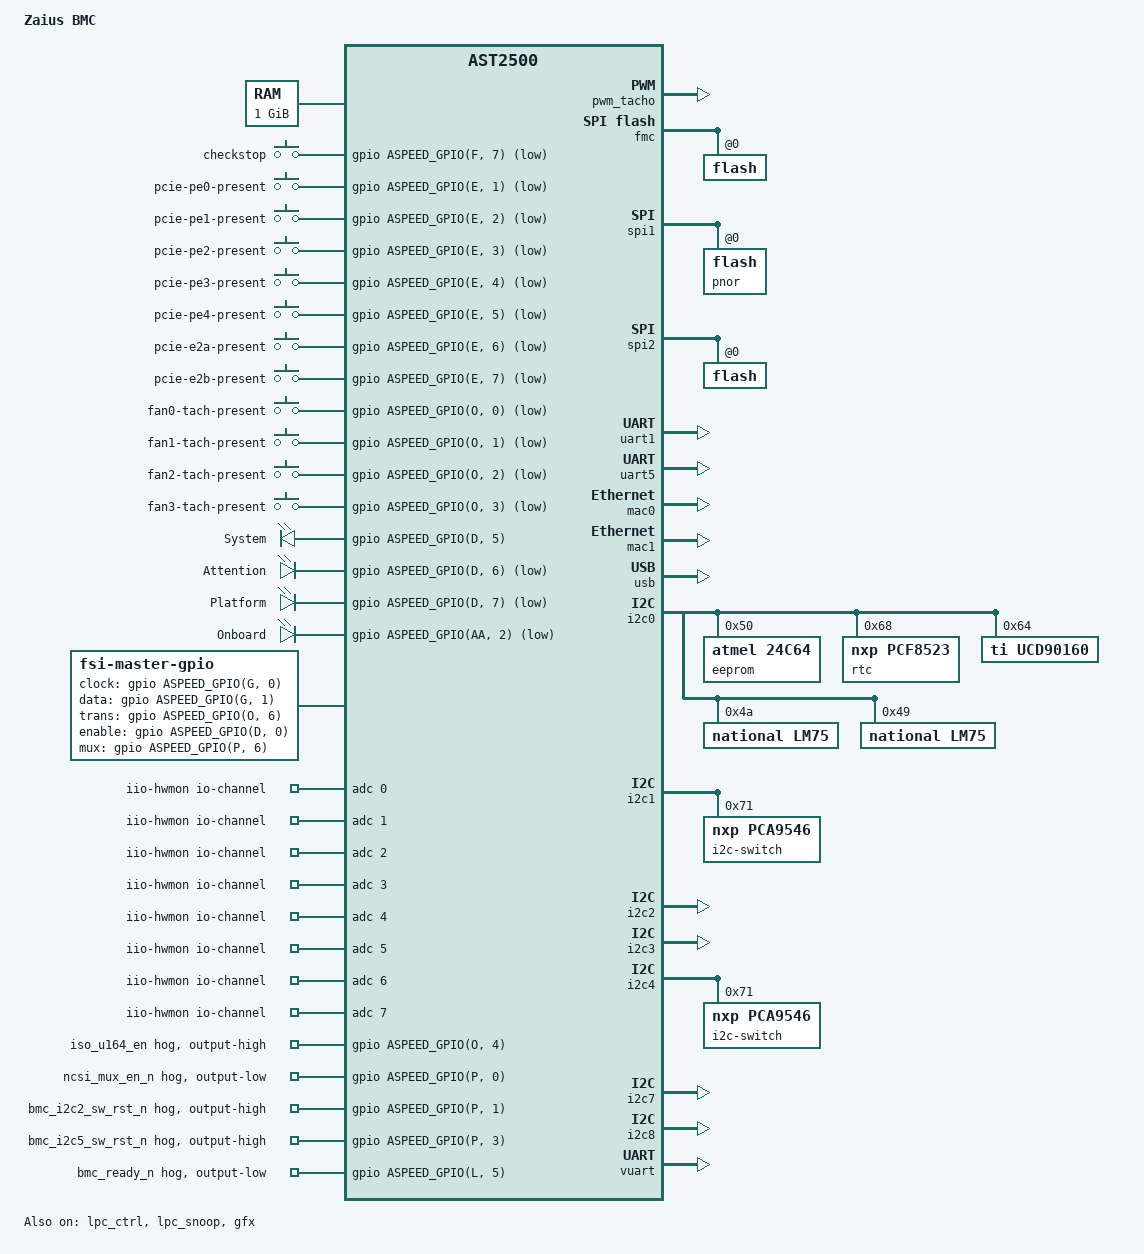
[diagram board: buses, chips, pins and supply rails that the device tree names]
/dts-v1/;

#include "aspeed-g5.dtsi"
#include <dt-bindings/gpio/aspeed-gpio.h>

/ {
	model = "Zaius BMC";
	compatible = "ingrasys,zaius-bmc", "aspeed,ast2500";

	chosen {
		stdout-path = &uart5;
		bootargs = "console=ttyS4,115200 earlyprintk";
	};

	memory {
		reg = <0x80000000 0x40000000>;
	};

	reserved-memory {
		#address-cells = <1>;
		#size-cells = <1>;
		ranges;

		flash_memory: region@98000000 {
			no-map;
			reg = <0x98000000 0x04000000>; /* 64M */
		};
	};

	gpio-keys {
		compatible = "gpio-keys";

		checkstop {
			label = "checkstop";
			gpios = <&gpio ASPEED_GPIO(F, 7) GPIO_ACTIVE_LOW>;
			linux,code = <ASPEED_GPIO(F, 7)>;
		};

		pcie-pe0-present{
                        label = "pcie-pe0-present";
                        gpios = <&gpio ASPEED_GPIO(E, 1) GPIO_ACTIVE_LOW>;
                        linux,code = <ASPEED_GPIO(E, 1)>;
                };
		pcie-pe1-present{
                        label = "pcie-pe1-present";
                        gpios = <&gpio ASPEED_GPIO(E, 2) GPIO_ACTIVE_LOW>;
                        linux,code = <ASPEED_GPIO(E, 2)>;
                };

		pcie-pe2-present{
                        label = "pcie-pe2-present";
                        gpios = <&gpio ASPEED_GPIO(E, 3) GPIO_ACTIVE_LOW>;
                        linux,code = <ASPEED_GPIO(E, 3)>;
                };

		pcie-pe3-present{
                        label = "pcie-pe3-present";
                        gpios = <&gpio ASPEED_GPIO(E, 4) GPIO_ACTIVE_LOW>;
                        linux,code = <ASPEED_GPIO(E, 4)>;
                };

		pcie-pe4-present{
                        label = "pcie-pe4-present";
                        gpios = <&gpio ASPEED_GPIO(E, 5) GPIO_ACTIVE_LOW>;
                        linux,code = <ASPEED_GPIO(E, 5)>;
                };
		
		pcie-e2a-present{
                        label = "pcie-e2a-present";
                        gpios = <&gpio ASPEED_GPIO(E, 6) GPIO_ACTIVE_LOW>;
                        linux,code = <ASPEED_GPIO(E, 6)>;
                };

		pcie-e2b-present{
                        label = "pcie-e2b-present";
                        gpios = <&gpio ASPEED_GPIO(E, 7) GPIO_ACTIVE_LOW>;
                        linux,code = <ASPEED_GPIO(E, 7)>;
                };

		fan0-tach-present{
                        label = "fan0-tach-present";
                        gpios = <&gpio ASPEED_GPIO(O, 0) GPIO_ACTIVE_LOW>;
                        linux,code = <ASPEED_GPIO(O, 0)>;
                };

		fan1-tach-present{
                        label = "fan1-tach-present";
                        gpios = <&gpio ASPEED_GPIO(O, 1) GPIO_ACTIVE_LOW>;
                        linux,code = <ASPEED_GPIO(O, 1)>;
                };

		fan2-tach-present{
                        label = "fan2-tach-present";
                        gpios = <&gpio ASPEED_GPIO(O, 2) GPIO_ACTIVE_LOW>;
                        linux,code = <ASPEED_GPIO(O, 2)>;
                };

		fan3-tach-present{
                        label = "fan3-tach-present";
                        gpios = <&gpio ASPEED_GPIO(O, 3) GPIO_ACTIVE_LOW>;
                        linux,code = <ASPEED_GPIO(O, 3)>;
                };
	};

	leds {
		compatible = "gpio-leds";

		sys_boot_status {
			label = "System";
			gpios = <&gpio ASPEED_GPIO(D, 5) GPIO_ACTIVE_HIGH>;
		};

		attention {
			label = "Attention";
			gpios = <&gpio ASPEED_GPIO(D, 6) GPIO_ACTIVE_LOW>;
		};

		plt_fault {
			label = "Platform";
			gpios = <&gpio ASPEED_GPIO(D, 7) GPIO_ACTIVE_LOW>;
		};

		hdd_fault {
			label = "Onboard";
			gpios = <&gpio ASPEED_GPIO(AA, 2) GPIO_ACTIVE_LOW>;
		};
	};

	fsi: gpio-fsi {
		compatible = "fsi-master-gpio", "fsi-master";
		#address-cells = <2>;
		#size-cells = <0>;

		/*
		 * Close these 2 GPIOs are set per board revision in aspeed.c.
		 * Using these are the DVT and beyond values: 
		 */
		   clock-gpios = <&gpio ASPEED_GPIO(G, 0) GPIO_ACTIVE_HIGH>;
		   data-gpios = <&gpio ASPEED_GPIO(G, 1) GPIO_ACTIVE_HIGH>;
		 
		trans-gpios = <&gpio ASPEED_GPIO(O, 6) GPIO_ACTIVE_HIGH>;
		enable-gpios = <&gpio ASPEED_GPIO(D, 0) GPIO_ACTIVE_HIGH>;
		mux-gpios = <&gpio ASPEED_GPIO(P, 6) GPIO_ACTIVE_HIGH>;
	};

	iio-hwmon {
		compatible = "iio-hwmon";
		io-channels = <&adc 0>, <&adc 1>, <&adc 2>, <&adc 3>,
			<&adc 4>, <&adc 5>, <&adc 6>, <&adc 7>,
			<&adc 8>, <&adc 9>, <&adc 10>, <&adc 11>,
			<&adc 12>, <&adc 13>, <&adc 14>, <&adc 15>;
	};
};

#include "ibm-power9-cfam.dtsi"

&pwm_tacho {
	status = "okay";
	pinctrl-names = "default";
	pinctrl-0 = <&pinctrl_pwm0_default &pinctrl_pwm1_default
		&pinctrl_pwm2_default &pinctrl_pwm3_default>;

	fan@0 {
		reg = <0x00>;
                cooling-levels = /bits/ 8 <50>;
		aspeed,fan-tach-ch = /bits/ 8 <0x00>;
	};

	fan@1 {
		reg = <0x01>;
                cooling-levels = /bits/ 8 <50>;
		aspeed,fan-tach-ch = /bits/ 8 <0x01>;
	};

	fan@2 {
		reg = <0x02>;
                cooling-levels = /bits/ 8 <50>;
		aspeed,fan-tach-ch = /bits/ 8 <0x02>;
	};

	fan@3 {
		reg = <0x03>;
                cooling-levels = /bits/ 8 <50>;
		aspeed,fan-tach-ch = /bits/ 8 <0x03>;
	};
};

&fmc {
	status = "okay";
	flash@0 {
		status = "okay";
		m25p,fast-read;
#include "aspeed-bmc-opp-flash-layout.dtsi"
	};
};

&spi1 {
	status = "okay";
	pinctrl-names = "default";
	pinctrl-0 = <&pinctrl_spi1_default>;

	flash@0 {
		status = "okay";
		label = "pnor";
		m25p,fast-read;
	};
};

&spi2 {
	status = "okay";
	pinctrl-names = "default";
	pinctrl-0 = <&pinctrl_spi2ck_default
		     &pinctrl_spi2cs0_default
		     &pinctrl_spi2cs1_default
		     &pinctrl_spi2miso_default
		     &pinctrl_spi2mosi_default>;

	flash@0 {
		status = "okay";
	};
};

&uart1 {
	status = "okay";
	pinctrl-names = "default";
	pinctrl-0 = <&pinctrl_txd1_default
		     &pinctrl_rxd1_default>;
};

&lpc_ctrl {
	status = "okay";
	memory-region = <&flash_memory>;
	flash = <&spi1>;
};

&lpc_snoop {
	status = "okay";
	snoop-ports = <0x80>;
};

&mbox {
	status = "okay";
};

&uart5 {
	status = "okay";
};

&mac0 {
	status = "okay";

	pinctrl-names = "default";
	pinctrl-0 = <&pinctrl_rmii1_default>;
	use-ncsi;
};

&mac1 {
	status = "okay";

	pinctrl-names = "default";
	pinctrl-0 = <&pinctrl_rgmii2_default &pinctrl_mdio2_default>;
};

&usb   {
       status = "okay";
};


&i2c0 {
	status = "okay";

	eeprom@50 {
		compatible = "atmel,24c64";
		reg = <0x50>;
		pagesize = <32>;
	};

	rtc@68 {
		compatible = "nxp,pcf8523";
		reg = <0x68>;
	};

	ucd90160@64 {
		/* https://github.com/openbmc/openbmc/issues/832 */
		compatible = "ti,ucd90160";
		reg = <0x64>;
	};

	lm75@4a {
		compatible = "national,lm75";
		reg = <0x4a>;
	};

	lm75@49 {
                compatible = "national,lm75";
                reg = <0x49>;
        };

	/* Power sequencer UCD90160 PMBUS @64h
	 * FRU AT24C64D @50h
	 * RTC PCF8523 @68h
	 * Clock buffer 9DBL04 @6dh
	 * LM75 @4ah
	 * LM75 @49h
	 * Clock GEN SI5338C @70h
	 */
};

&i2c1 {
	status = "okay";

	i2c-switch@71 {
		compatible = "nxp,pca9546";
		reg = <0x71>;
		#address-cells = <1>;
		#size-cells = <0>;
	};

	/* MUX1 PCA9546A @71h
	 *   PCIe 0
	 *   PCIe 1
	 *   PCIe 2
	 *   TPM header
	 */
};

&i2c2 {
	status = "okay";

	/* OCP Mezz Connector A (OOB SMBUS) */
};

&i2c3 {
	status = "okay";

	/* OCP Mezz Connector A (PCIe slot SMBUS) */
};

&i2c4 {
	status = "okay";

	i2c-switch@71 {
		compatible = "nxp,pca9546";
		reg = <0x71>;
		#address-cells = <1>;
		#size-cells = <0>;
	};

	/* MUX1 PCA9546A @71h
	 *   PCIe 3
	 *   PCIe 4
	 */
};


&i2c5 {
	status = "disabled";

	/* I2C BUFFER PCA9617 DEPOP
	 * APSS TMS320F28033PNT @00h
	 */
};

&i2c6 {
	status = "disabled";

	/* I2C BUFFER PCA9617 DEPOP */
};

&i2c7 {
	status = "okay";

	/* CPU0 VR IR35221 0.7V, 0.96V PMBUS @32h
	 * CPU0 VR IR35221 1.2V PMBUS @34h
	 * CPU0 VR IR35221 0.8V PMBUS @30h
	 * CPU0 VR IR38064 1.0V PMBUS @09h
	 */
};

&i2c8 {
	status = "okay";

	/* CPU0 VR IR355221 0.7V, 0.96V PMBUS @38h */
	/* CPU1 VR IR355221 1.2V PMBUS @40h */
	/* CPU0 VR IR355221 0.8V PMBUS @36h */
	/* CPU0 VR IR38064 1.0V PMBUS @09h */
};


&i2c9 {
	status = "disabled";
};

&i2c10 {
	status = "disabled";
};

&i2c11 {
	status = "disabled";

	/* GPU sideband */
};

&i2c12 {
	status = "disabled";
};

&i2c13 {
	status = "disabled";

	/* MUX PI3USB102
	 *   CPU0 debug
	 *   CPU1 debug
	 */
};

&pinctrl {
	aspeed,external-nodes = <&gfx &lhc>;

	pinctrl_gpioh_unbiased: gpioi_unbiased {
		pins = "A8", "C7", "B7", "A7", "D7", "B6", "A6", "E7";
		bias-disable;
	};
};

&gpio {
	line_iso_u146_en {
		gpio-hog;
		gpios = <ASPEED_GPIO(O, 4) GPIO_ACTIVE_HIGH>;
		output-high;
		line-name = "iso_u164_en";
	};

	ncsi_mux_en_n {
		gpio-hog;
		gpios = <ASPEED_GPIO(P, 0) GPIO_ACTIVE_HIGH>;
		output-low;
		line-name = "ncsi_mux_en_n";
	};

	line_bmc_i2c2_sw_rst_n {
		gpio-hog;
		gpios = <ASPEED_GPIO(P, 1) GPIO_ACTIVE_HIGH>;
		output-high;
		line-name = "bmc_i2c2_sw_rst_n";
	};

	line_bmc_i2c5_sw_rst_n {
		gpio-hog;
		gpios = <ASPEED_GPIO(P, 3) GPIO_ACTIVE_HIGH>;
		output-high;
		line-name = "bmc_i2c5_sw_rst_n";
	};

	bmc_ready_n {
		gpio-hog;
		gpios = <ASPEED_GPIO(L, 5) GPIO_ACTIVE_HIGH>;
		output-low;
		line-name = "bmc_ready_n";
	};
};

&vuart {
	status = "okay";
};

&gfx {
	status = "okay";
};

&pinctrl {
	aspeed,external-nodes = <&gfx &lhc>;
};
